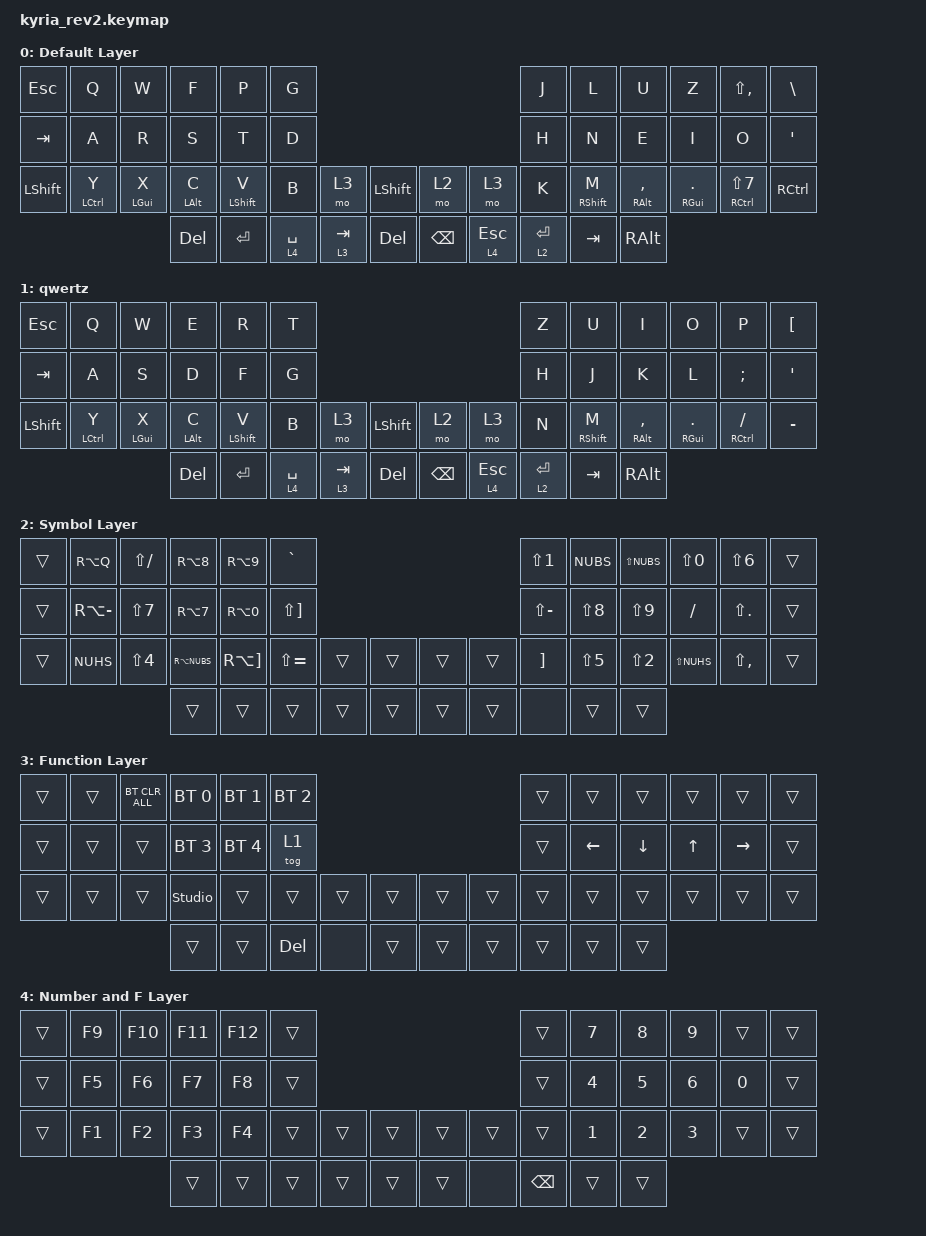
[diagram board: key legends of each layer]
/*
 * Copyright (c) 2020 The ZMK Contributors
 *
 * SPDX-License-Identifier: MIT
 */

#include <behaviors.dtsi>
#include <dt-bindings/zmk/bt.h>
#include <dt-bindings/zmk/keys.h>

&mt {
    tapping-term-ms = <300>; // This is the value already set by default
    flavor = "tap-preferred";
};

/ {
    keymap {
        compatible = "zmk,keymap";

        default_layer {
            display-name = "Default Layer";

            // ---------------------------------------------------------------------------------------------------------------------------------
            // |  ESC  |  Q  |  W  |  F   |  P   |  G   |                                          |  J   |  L    |  U    |  Z   |   ;   |     |
            // |  TAB  |  A  |  R  |  S   |  T   |  D   |                                          |  H   |  N    |  E    |  I   |   O   |   '  |
            // | SHIFT |  Z  |  X  |  C   |  V   |  B   | L SHIFT | L SHIFT |  | LAYER 1 | L SHIFT |  N   |  M    |  ,    |  .   |   /   | CTRL |
            //                     | GUI  | DEL  | RET  |  SPACE  |   ESC   |  |   RET   |  SPACE  | TAB  | BSPC  | R-ALT |

            bindings = <
&kp ESC    &kp Q        &kp W       &kp F       &kp P        &kp G                                                   &kp J      &kp L        &kp U           &kp Z         &kp LS(COMMA)     &kp BSLH
&kp TAB    &kp A        &kp R       &kp S       &kp T        &kp D                                                   &kp H      &kp N        &kp E           &kp I         &kp O             &kp SQT
&kp LSHFT  &mt LCTRL Y  &mt LGUI X  &mt LALT C  &mt LSHFT V  &kp B        &mo 3      &kp LSHFT  &mo 2     &mo 3      &kp K      &mt RSHFT M  &mt RALT COMMA  &mt RGUI DOT  &mt RCTRL LS(N7)  &kp RCTRL
                                    &kp DEL     &kp RET      &lt 4 SPACE  &lt 3 TAB  &kp DEL    &kp BSPC  &lt 4 ESC  &lt 2 RET  &kp TAB      &kp RALT
            >;
        };

        qwertz {
            display-name = "qwertz";
            bindings = <
&kp ESC    &kp Q        &kp W       &kp E       &kp R        &kp T                                                   &kp Z      &kp U        &kp I           &kp O         &kp P            &kp LEFT_BRACKET
&kp TAB    &kp A        &kp S       &kp D       &kp F        &kp G                                                   &kp H      &kp J        &kp K           &kp L         &kp SEMI         &kp SQT
&kp LSHFT  &mt LCTRL Y  &mt LGUI X  &mt LALT C  &mt LSHFT V  &kp B        &mo 3      &kp LSHFT  &mo 2     &mo 3      &kp N      &mt RSHFT M  &mt RALT COMMA  &mt RGUI DOT  &mt RCTRL SLASH  &kp MINUS
                                    &kp DEL     &kp RET      &lt 4 SPACE  &lt 3 TAB  &kp DEL    &kp BSPC  &lt 4 ESC  &lt 2 RET  &kp TAB      &kp RALT
            >;
        };

        symbol_layer {
            display-name = "Symbol Layer";

            // ---------------------------------------------------------------------------------------------------------------------------------
            // |   @   |  _   |BT_CLR|BTSEL0|BTSEL1|BTSEL2|                                         |      |      |      |      |      |      |
            // |       |      |      |BTSEL3|BTSEL4|      |                                         |      |      |      |      |      |      |
            // |       |      |      |      |      |      |      |      |      |      |      |      |      |      |      |      |      |      |
            //                       |      |      |      |      |      |      |      |      |      |      |      |      |

            bindings = <
&trans  &kp RA(Q)      &kp LS(SLASH)  &kp RA(N8)    &kp RA(N9)    &kp GRAVE                                      &kp LS(N1)     &kp NUBS    &kp LS(NUBS)  &kp LS(N0)    &kp LS(N6)     &trans
&trans  &kp RA(MINUS)  &kp LS(N7)     &kp RA(N7)    &kp RA(N0)    &kp LS(RBKT)                                   &kp LS(MINUS)  &kp LS(N8)  &kp LS(N9)    &kp SLASH     &kp LS(DOT)    &trans
&trans  &kp NUHS       &kp LS(N4)     &kp RA(NUBS)  &kp RA(RBKT)  &kp LS(EQUAL)  &trans  &trans  &trans  &trans  &kp RBKT       &kp LS(N5)  &kp LS(N2)    &kp LS(NUHS)  &kp LS(COMMA)  &trans
                                      &trans        &trans        &trans         &trans  &trans  &trans  &trans  &none          &trans      &trans
            >;
        };

        function_layer {
            display-name = "Function Layer";

            // ---------------------------------------------------------------------------------------------------------------------------------
            // |       |      |BT_CLR|BTSEL0|BTSEL1|BTSEL2|                                         |      |      |      |      |      |      |
            // |       |      |      |BTSEL3|BTSEL4|      |                                         |      |      |      |      |      |      |
            // |       |      |      |      |      |      |      |      |      |      |      |      |      |      |      |      |      |      |
            //                       |      |      |      |      |      |      |      |      |      |      |      |      |

            bindings = <
&trans  &trans  &bt BT_CLR_ALL  &bt BT_SEL 0    &bt BT_SEL 1  &bt BT_SEL 2                                  &trans  &trans    &trans    &trans  &trans     &trans
&trans  &trans  &trans          &bt BT_SEL 3    &bt BT_SEL 4  &tog 1                                        &trans  &kp LEFT  &kp DOWN  &kp UP  &kp RIGHT  &trans
&trans  &trans  &trans          &studio_unlock  &trans        &trans        &trans  &trans  &trans  &trans  &trans  &trans    &trans    &trans  &trans     &trans
                                &trans          &trans        &kp DEL       &none   &trans  &trans  &trans  &trans  &trans    &trans
            >;
        };

        nr_layer {
            display-name = "Number and F Layer";

            // ---------------------------------------------------------------------------------------------------------------------------------
            // |       |      |BT_CLR|BTSEL0|BTSEL1|BTSEL2|                                         |      |      |      |      |      |      |
            // |       |      |      |BTSEL3|BTSEL4|      |                                         |      |      |      |      |      |      |
            // |       |      |      |      |      |      |      |      |      |      |      |      |      |      |      |      |      |      |
            //                       |      |      |      |      |      |      |      |      |      |      |      |      |

            bindings = <
&trans  &kp F9  &kp F10  &kp F11  &kp F12  &trans                                  &trans    &kp N7  &kp N8  &kp N9  &trans  &trans
&trans  &kp F5  &kp F6   &kp F7   &kp F8   &trans                                  &trans    &kp N4  &kp N5  &kp N6  &kp N0  &trans
&trans  &kp F1  &kp F2   &kp F3   &kp F4   &trans  &trans  &trans  &trans  &trans  &trans    &kp N1  &kp N2  &kp N3  &trans  &trans
                         &trans   &trans   &trans  &trans  &trans  &trans  &none   &kp BSPC  &trans  &trans
            >;
        };
    };
};
